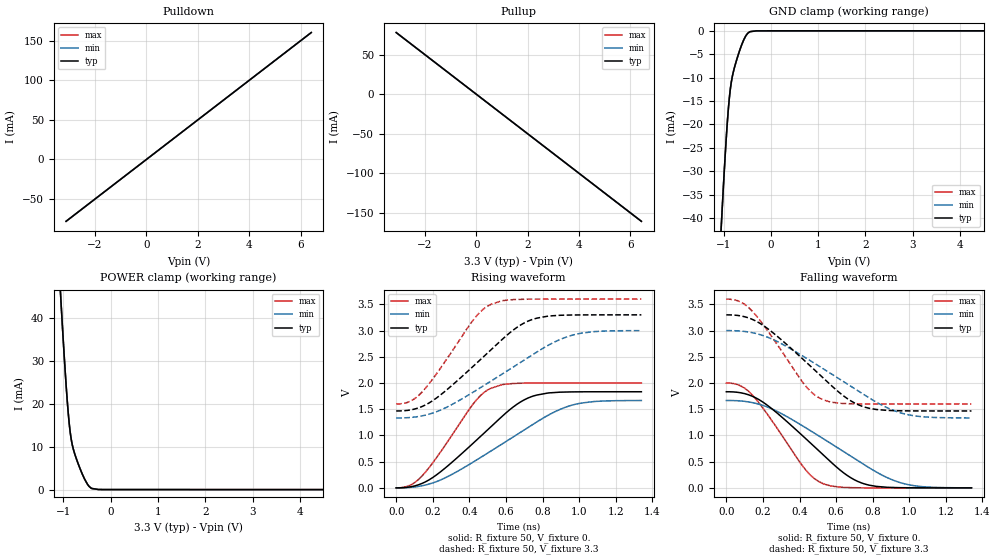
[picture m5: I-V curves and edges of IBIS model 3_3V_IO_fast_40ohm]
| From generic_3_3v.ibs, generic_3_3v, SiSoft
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[Model] 3_3V_IO_fast_40ohm
|SiSoft Include 3_3v.inc
Model_type I/O
|SiSoft Include 3_3v.inc
|C_comp_off 3.002p 2.502p 3.502p
|C_comp_on 3.002p 2.502p 3.502p
C_comp 3.002p 2.502p 3.502p
|SiSoft Rth_i 358.696K 375.001K 346.155K
|SiSoft Rth_r 40.003 40.003 40.003
|SiSoft Rth_f 39.997 39.997 39.997
Vinh = 2
Vinl = 0.8
Cref = 0
Vref = 1.65
Rref = 50
Vmeas = 1.65
|SiSoft spice_param TT Voh 3.3
|SiSoft spice_param SS Voh 3
|SiSoft spice_param FF Voh 3.6
|SiSoft spice_param ALL Vol 0
|SiSoft spice_param ALL R_SERIES 40
|SiSoft spice_param ALL RTERM_IN 1MEG
|SiSoft spice_param TT C_COMP 3pF
|SiSoft spice_param SS C_COMP 3.5pF
|SiSoft spice_param FF C_COMP 2.5pF
|SiSoft spice all testbed.mod tech_io_33
|SiSoft stimulus_rise_time 0.75n 1.0n 0.5n
[Temperature_Range] 25 100 0
[Voltage Range] 3.3 3. 3.6
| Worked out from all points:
|   slope of the pulldown table from 0 to 0.495 V, typ, clamps not added: 40 ohm
|   slope of the pullup table from 0 to 0.495 V, typ, clamps not added: 40 ohm
|   GND clamp passes 1 mA (typ) near -0.52 V on its own axis
|   POWER clamp passes 1 mA (typ) near -0.47 V on its own axis
|   rising waveform, R_fixture 50, V_fixture 0.: 20-80 % time 349ps typ, 460ps min, 238ps max; typ from 0 V to 1.83 V
|   rising waveform, R_fixture 50, V_fixture 3.3: 20-80 % time 349ps typ, 460ps min, 238ps max; typ from 1.47 V to 3.3 V
|   falling waveform, R_fixture 50, V_fixture 0.: 20-80 % time 349ps typ, 460ps min, 238ps max; typ from 1.83 V to 0 V
|   falling waveform, R_fixture 50, V_fixture 3.3: 20-80 % time 349ps typ, 460ps min, 238ps max; typ from 3.3 V to 1.47 V
[Pulldown]
-3.125V   -78.13mA   -78.13mA   -78.13mA
5.298V    132.4mA    132.4mA    132.4mA
6.127V    153.2mA    153.2mA    153.2mA
6.417V    160.4mA    160.4mA    160.4mA
[Pullup]
-3.117V   77.92mA    77.92mA    77.92mA
5.895V    -147.4mA   -147.4mA   -147.4mA
6.097V    -152.4mA   -152.4mA   -152.4mA
6.425V    -160.6mA   -160.6mA   -160.6mA
[GND Clamp]
-3.125V   -503.2mA   -503.2mA   -503.2mA
-1.044V   -41.05mA   -41.05mA   -41.05mA
-986.3mV  -30.27mA   -30.28mA   -30.27mA
-928.3mV  -20.76mA   -20.77mA   -20.76mA
-884.8mV  -15.16mA   -15.15mA   -15.16mA
-863mV    -13.01mA   -13.01mA   -13.01mA
-841.3mV  -11.35mA   -11.35mA   -11.35mA
-776mV    -8.106mA   -8.106mA   -8.106mA
-638.3mV  -3.594mA   -3.594mA   -3.595mA
-529.5mV  -1.074mA   -1.073mA   -1.078mA
-442.5mV  -197.9uA   -195.5uA   -199.7uA
6.417V    0A         0A         0A
[Power Clamp]
-3.125V   499.3mA    499.3mA    499.3mA
-1.055V   45.2mA     45.2mA     45.2mA
-976.4mV  30.5mA     30.5mA     30.5mA
-920.1mV  21.34mA    21.34mA    21.34mA
-875.1mV  15.51mA    15.51mA    15.51mA
-852.6mV  13.31mA    13.31mA    13.31mA
-830.1mV  11.63mA    11.63mA    11.64mA
-762.6mV  8.507mA    8.506mA    8.507mA
-616.4mV  4.105mA    4.105mA    4.106mA
-492.6mV  1.321mA    1.32mA     1.324mA
-402.6mV  287uA      284.8uA    288.5uA
6.425V    0A         0A         0A
[Ramp]
dV/dt_r 1.1/348.77p 1./460.517p 1.2/237.787p
dV/dt_f 1.1/348.77p 1./460.515p 1.2/237.785p
[Rising Waveform]
R_fixture = 50
V_fixture = 0.
0s        44.47uV    44.47uV    44.47uV
80ps      20.69mV    9.565mV    56.88mV
140ps     82.81mV    38.81mV    222.3mV
240ps     300.1mV    146.9mV    672.8mV
420ps     849.8mV    490.8mV    1.597V
520ps     1.173V     707.5mV    1.903V
660ps     1.594V     1.016V     1.993V
770ps     1.771V     1.26V      1.999V
1ns       1.832V     1.609V     2V
1.34ns    1.833V     1.666V     2V
[Rising Waveform]
R_fixture = 50
V_fixture = 3.3
V_fixture_min = 3.
V_fixture_max = 3.6
0s        1.467V     1.333V     1.6V
80ps      1.487V     1.343V     1.657V
140ps     1.549V     1.372V     1.822V
240ps     1.767V     1.48V      2.273V
420ps     2.316V     1.824V     3.197V
520ps     2.639V     2.041V     3.502V
660ps     3.061V     2.35V      3.593V
770ps     3.238V     2.593V     3.599V
1ns       3.298V     2.943V     3.6V
1.34ns    3.3V       2.999V     3.6V
[Falling Waveform]
R_fixture = 50
V_fixture = 0.
0s        1.833V     1.667V     2V
80ps      1.813V     1.657V     1.943V
140ps     1.75V      1.628V     1.778V
240ps     1.533V     1.52V      1.327V
420ps     983.5mV    1.176V     402.5mV
530ps     628mV      937.2mV    78.03mV
660ps     238.8mV    650.2mV    7.134mV
780ps     51.86mV    384.8mV    665.3uV
1ns       1.632mV    57.29mV    50.67uV
1.34ns    51.21uV    672.8uV    44.48uV
[Falling Waveform]
R_fixture = 50
V_fixture = 3.3
V_fixture_min = 3.
V_fixture_max = 3.6
0s        3.3V       3V         3.6V
80ps      3.279V     2.99V      3.543V
140ps     3.217V     2.961V     3.378V
240ps     3V         2.853V     2.927V
420ps     2.45V      2.509V     2.002V
530ps     2.095V     2.27V      1.678V
660ps     1.705V     1.983V     1.607V
780ps     1.518V     1.718V     1.601V
1ns       1.468V     1.391V     1.6V
1.34ns    1.467V     1.334V     1.6V
